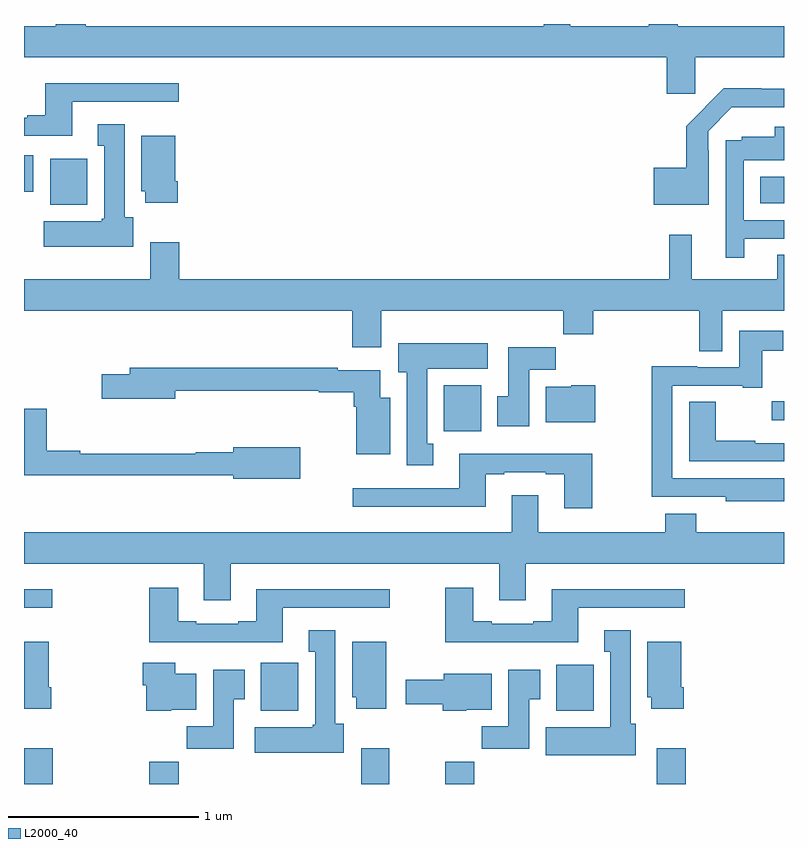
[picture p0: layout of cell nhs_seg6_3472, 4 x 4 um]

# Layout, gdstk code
import gdstk
lib = gdstk.Library(unit=1e-6, precision=1e-09)
def R(c, l, rs):  # rectangles x0, y0, x1, y1
    for r in rs: c.add(gdstk.rectangle(r[:2], r[2:], *l))
def P(c, l, *ps):  # polygons
    for p in ps: c.add(gdstk.Polygon(p, *l))
L2000_40 = (2000, 40)

nhs_seg6_3472 = lib.new_cell('nhs_seg6_3472')
R(nhs_seg6_3472, L2000_40, [(315,955.5,315.152,955.687), (315.659,955.5,315.815,955.616), (316.775,955.5,316.923,955.687), (317.218,955.5,317.369,955.616), (318.329,955.5,318.482,955.687), (316.247,955.886,316.443,956.137), (317.801,955.886,317.998,956.128), (315,956.427,315.148,956.524), (317.21,957.356,317.407,957.598), (318.936,957.414,319,957.515), (315.137,958.55,315.334,958.792), (318.874,958.556,319,958.696), (315,958.616,315.049,958.81)])
P(nhs_seg6_3472, L2000_40, [(318.383,959.133),(318.533,959.133),(318.533,959.324),(319,959.324),(319,959.488),(318.44,959.488),(318.44,959.5),(318.287,959.5),(318.287,959.488),(317.875,959.488),(317.875,959.5),(317.735,959.5),(317.735,959.488),(315.326,959.488),(315.326,959.5),(315.166,959.5),(315.166,959.488),(315,959.488),(315,959.324),(318.383,959.324)],
  [(315.253,959.091),(315.814,959.091),(315.814,959.188),(315.113,959.188),(315.113,959.02),(315.017,959.02),(315.017,959.007),(315,959.007),(315,958.911),(315.253,958.911)],
  [(318.603,958.835),(318.6,958.835),(318.6,958.935),(318.726,959.061),(319,959.061),(319,959.158),(318.881,959.158),(318.881,959.161),(318.682,959.161),(318.485,958.963),(318.485,958.744),(318.314,958.744),(318.314,958.55),(318.603,958.55)],
  [(315.574,958.482),(315.529,958.482),(315.529,958.972),(315.389,958.972),(315.389,958.859),(315.422,958.859),(315.422,958.476),(315.409,958.476),(315.409,958.462),(315.105,958.462),(315.105,958.328),(315.574,958.328)],
  [(318.79,958.371),(319,958.371),(319,958.467),(318.789,958.467),(318.789,958.784),(319,958.784),(319,958.96),(318.95,958.96),(318.95,958.906),(318.777,958.906),(318.777,958.887),(318.693,958.887),(318.693,958.269),(318.79,958.269)],
  [(315.809,958.672),(315.796,958.672),(315.796,958.912),(315.617,958.912),(315.617,958.62),(315.638,958.62),(315.638,958.56),(315.809,958.56)],
  [(318.676,957.992),(319,957.992),(319,958.286),(318.965,958.286),(318.965,958.156),(318.515,958.156),(318.515,958.39),(318.397,958.39),(318.397,958.156),(315.818,958.156),(315.818,958.351),(315.665,958.351),(315.665,958.156),(315,958.156),(315,957.992),(316.727,957.992),(316.727,957.798),(316.879,957.798),(316.879,957.992),(317.839,957.992),(317.839,957.868),(317.996,957.868),(317.996,957.992),(318.555,957.992),(318.555,957.778),(318.676,957.778)],
  [(319,957.108),(318.411,957.108),(318.411,957.597),(318.782,957.597),(318.782,957.585),(318.886,957.585),(318.886,957.78),(318.997,957.78),(318.997,957.886),(318.764,957.886),(318.764,957.693),(318.543,957.693),(318.543,957.698),(318.303,957.698),(318.303,957.012),(318.693,957.012),(318.693,956.987),(319,956.987)],
  [(317.155,957.29),(317.122,957.29),(317.122,957.686),(317.44,957.686),(317.44,957.82),(316.97,957.82),(316.97,957.666),(317.015,957.666),(317.015,957.177),(317.155,957.177)],
  [(317.659,957.68),(317.798,957.68),(317.798,957.799),(317.549,957.799),(317.549,957.54),(317.492,957.54),(317.492,957.384),(317.659,957.384)],
  [(316.927,957.532),(316.876,957.532),(316.876,957.678),(316.652,957.678),(316.652,957.691),(315.557,957.691),(315.557,957.657),(315.408,957.657),(315.408,957.527),(315.796,957.527),(315.796,957.57),(316.552,957.57),(316.552,957.562),(316.736,957.562),(316.736,957.485),(316.748,957.485),(316.748,957.236),(316.927,957.236)],
  [(318.006,957.598),(317.88,957.598),(317.88,957.592),(317.747,957.592),(317.747,957.404),(318.006,957.404)],
  [(319,957.294),(318.848,957.294),(318.848,957.307),(318.64,957.307),(318.64,957.512),(318.5,957.512),(318.5,957.198),(319,957.198)],
  [(316.453,957.273),(316.1,957.273),(316.1,957.247),(315.904,957.247),(315.904,957.239),(315.296,957.239),(315.296,957.254),(315.119,957.254),(315.119,957.476),(315,957.476),(315,957.126),(316.1,957.126),(316.1,957.107),(316.453,957.107)],
  [(317.991,957.238),(317.291,957.238),(317.291,957.057),(316.731,957.057),(316.731,956.96),(317.431,956.96),(317.431,957.129),(317.527,957.129),(317.527,957.141),(317.747,957.141),(317.747,957.129),(317.843,957.129),(317.843,956.952),(317.991,956.952)],
  [(316.087,956.66),(317.501,956.66),(317.501,956.466),(317.641,956.466),(317.641,956.66),(319,956.66),(319,956.824),(318.539,956.824),(318.539,956.923),(318.374,956.923),(318.374,956.824),(317.707,956.824),(317.707,957.019),(317.567,957.019),(317.567,956.824),(315,956.824),(315,956.66),(315.947,956.66),(315.947,956.466),(316.087,956.466)],
  [(316.363,956.427),(316.924,956.427),(316.924,956.524),(316.223,956.524),(316.223,956.356),(316.127,956.356),(316.127,956.343),(315.907,956.343),(315.907,956.356),(315.811,956.356),(315.811,956.533),(315.659,956.533),(315.659,956.246),(316.363,956.246)],
  [(317.917,956.427),(318.478,956.427),(318.478,956.524),(317.777,956.524),(317.777,956.356),(317.681,956.356),(317.681,956.343),(317.461,956.343),(317.461,956.356),(317.365,956.356),(317.365,956.533),(317.218,956.533),(317.218,956.246),(317.917,956.246)],
  [(318.22,955.818),(318.193,955.818),(318.193,956.308),(318.053,956.308),(318.053,956.195),(318.086,956.195),(318.086,955.798),(317.747,955.798),(317.747,955.652),(318.22,955.652)],
  [(316.684,955.818),(316.639,955.818),(316.639,956.308),(316.499,956.308),(316.499,956.195),(316.532,956.195),(316.532,955.812),(316.519,955.812),(316.519,955.798),(316.215,955.798),(316.215,955.664),(316.684,955.664)],
  [(315.143,956.008),(315.13,956.008),(315.13,956.248),(315,956.248),(315,955.896),(315.143,955.896)],
  [(316.906,956.248),(316.727,956.248),(316.727,955.956),(316.748,955.956),(316.748,955.896),(316.906,955.896)],
  [(318.473,956.008),(318.46,956.008),(318.46,956.248),(318.281,956.248),(318.281,955.956),(318.302,955.956),(318.302,955.896),(318.473,955.896)],
  [(315.774,955.892),(315.907,955.892),(315.907,956.08),(315.796,956.08),(315.796,956.137),(315.626,956.137),(315.626,956.019),(315.644,956.019),(315.644,955.886),(315.774,955.886)],
  [(317.659,955.945),(317.716,955.945),(317.716,956.101),(317.549,956.101),(317.549,955.804),(317.41,955.804),(317.41,955.686),(317.659,955.686)],
  [(316.105,955.945),(316.162,955.945),(316.162,956.101),(315.995,956.101),(315.995,955.804),(315.856,955.804),(315.856,955.686),(316.105,955.686)],
  [(317.328,955.892),(317.461,955.892),(317.461,956.08),(317.21,956.08),(317.21,956.05),(317.01,956.05),(317.01,955.921),(317.203,955.921),(317.203,955.886),(317.328,955.886)])

lib.write_gds('nhs_seg6_3472.gds')
